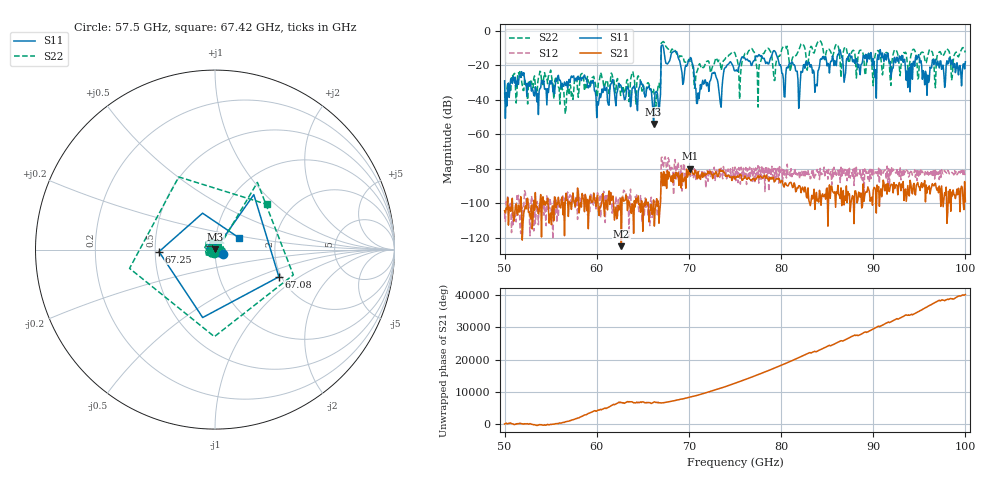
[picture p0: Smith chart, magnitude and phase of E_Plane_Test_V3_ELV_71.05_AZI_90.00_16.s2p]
! 11/26/2026 4:10:03 PM
! C:\ANRITSUVNA\TEMP\TEMP.S2P
! CHANNEL.1
! TR.MEASUREMENT
! RAW.DATA
# HZ S RI R 50.0
! FREQ.HZ  S11RE  S11IM  S21RE  S21IM  S12RE  S12IM  S22RE  S22IM
!; PortSelection: Port_12
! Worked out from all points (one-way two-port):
!   601 points, 50 GHz to 100 GHz, reference 50 ohm
!   highest |S21| = -79.94 dB at 70.17 GHz (marker M1); lowest = -124.9 dB at 62.67 GHz (marker M2)
!   lowest |S11| = -54.0 dB at 66.17 GHz (marker M3), VSWR 1.00, Z = 50.1 + j0.144 ohm
!   |S11| at or under -10 dB: start of sweep to 67 GHz; 67.24 GHz to end of sweep
!   |S22| runs from -48.2 to -5.6 dB; largest |S21 - S12| = 0.00024
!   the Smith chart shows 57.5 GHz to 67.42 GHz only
!   S11 on the Smith chart (normalised r, x): 57.5 GHz: 1.09, -0.05; 67.08 GHz: 1.94, -0.69; 67.25 GHz: 0.52, -0.01; 67.42 GHz: 1.29, +0.18
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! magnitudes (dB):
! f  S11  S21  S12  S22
! 50 GHz  -29.0  -104.3  -105.9  -35.8
! 51.67 GHz  -26.3  -104.9  -113.8  -23.3
! 57.5 GHz  -26.2  -98.2  -99.4  -34.7
! 58.42 GHz  -27.1  -94.4  -96.4  -24.7
! 60.17 GHz  -43.0  -103.8  -98.2  -30.4
! 62.67 GHz  -32.4  -124.9  -97.0  -36.4
! 66.17 GHz  -54.0  -98.3  -98.0  -34.0
! 66.67 GHz  -41.5  -98.7  -104.4  -31.7
! 67.08 GHz  -8.2  -83.5  -73.3  -6.8
! 67.25 GHz  -10.1  -81.7  -78.8  -6.2
! 67.42 GHz  -16.6  -90.0  -73.1  -8.3
! 70.17 GHz  -15.5  -79.9  -84.5  -18.6
! 70.92 GHz  -42.1  -85.8  -80.7  -23.0
! 75 GHz  -23.3  -86.1  -79.0  -13.0
! 79.25 GHz  -11.5  -87.7  -79.8  -28.8
! 80.25 GHz  -27.9  -89.9  -79.7  -9.3
! 83.42 GHz  -24.5  -97.5  -84.1  -10.8
! 91.67 GHz  -16.8  -92.8  -79.9  -15.2
! 93.75 GHz  -32.8  -89.8  -81.3  -21.3
! 94.83 GHz  -15.0  -88.0  -80.5  -27.9
! 95.83 GHz  -37.4  -94.1  -83.2  -16.5
! 100 GHz  -17.9  -99.2  -81.2  -12.6
